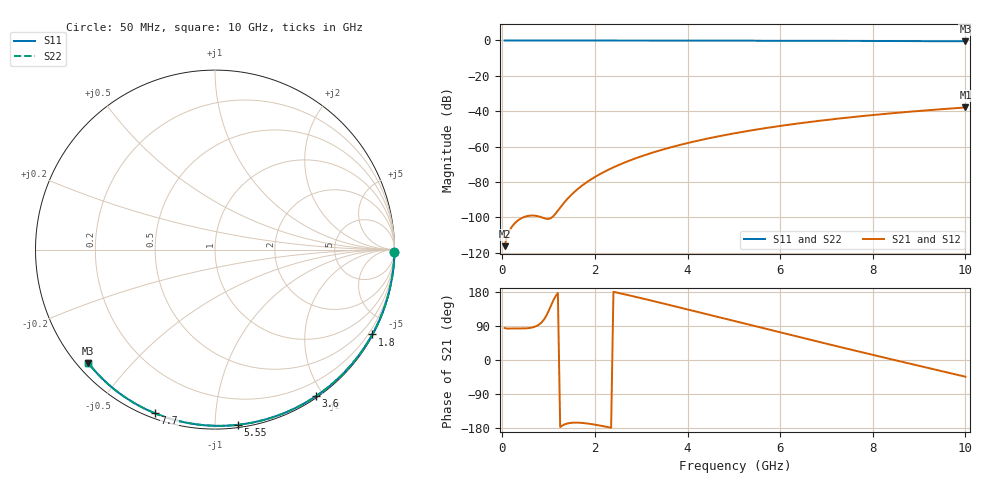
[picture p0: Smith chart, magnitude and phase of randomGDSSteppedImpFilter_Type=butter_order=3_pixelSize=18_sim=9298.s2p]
! freq	dB(S11)	phase(S11)	dB(S12)	phase(S12)
!  dB(S21)	phase(S21)	dB(S22)	phase(S22)
!S-par simulation data
#  GHz  S  DB  R 50
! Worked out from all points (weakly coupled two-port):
!   200 points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, 50 MHz to 10 GHz, reference 50 ohm
!   highest |S21| = -37.87 dB at 10 GHz (marker M1); lowest = -116.3 dB at 50 MHz (marker M2)
!   lowest |S11| = -0.5 dB at 10 GHz (marker M3), VSWR 37.08, Z = 1.55 - j19.1 ohm
!   |S11| at or under -10 dB: nowhere
!   |S22| runs from -0.5 to 0.0 dB; largest |S21 - S12| = 0
!   S11 on the Smith chart (normalised r, x): 50 MHz: open; 1.8 GHz: 0.03, -3.96; 3.6 GHz: 0.02, -1.91; 5.55 GHz: 0.02, -1.14; 7.7 GHz: 0.02, -0.70; 10 GHz: 0.03, -0.38
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0.05  -0.00 -0.8  -116.27 84.4  -116.27 84.4  -0.00 -0.8
0.45  -0.01 -7.2  -100.02 83.2  -100.02 83.2  -0.01 -7.2
0.9  -0.02 -14.3  -100.45 106.8  -100.45 106.8  -0.02 -14.3
1.75  -0.04 -27.6  -81.49 -166.4  -81.49 -166.4  -0.04 -27.6
1.8  -0.04 -28.3  -80.55 -167.0  -80.55 -167.0  -0.04 -28.3
1.85  -0.04 -29.1  -79.65 -167.8  -79.65 -167.8  -0.04 -29.1
2.05  -0.04 -32.2  -76.40 -171.6  -76.40 -171.6  -0.04 -32.2
2.25  -0.05 -35.2  -73.59 -176.3  -73.59 -176.3  -0.05 -35.2
2.55  -0.05 -39.8  -69.97 175.9  -69.97 175.9  -0.05 -39.8
2.95  -0.06 -45.8  -65.94 164.6  -65.94 164.6  -0.06 -45.8
3.4  -0.07 -52.4  -62.16 151.4  -62.16 151.4  -0.07 -52.4
3.6  -0.07 -55.4  -60.67 145.4  -60.67 145.4  -0.07 -55.3
3.9  -0.08 -59.7  -58.63 136.4  -58.63 136.4  -0.08 -59.7
4.3  -0.09 -65.4  -56.19 124.3  -56.19 124.3  -0.09 -65.4
5.05  -0.12 -75.8  -52.30 101.5  -52.30 101.5  -0.12 -75.8
5.55  -0.14 -82.6  -50.09 86.4  -50.09 86.4  -0.14 -82.6
6.1  -0.16 -89.9  -47.94 69.8  -47.94 69.8  -0.16 -89.9
6.7  -0.19 -97.6  -45.88 51.9  -45.88 51.9  -0.19 -97.6
7.7  -0.25 -110.2  -42.94 22.3  -42.94 22.3  -0.25 -110.2
8.35  -0.30 -118.2  -41.30 3.4  -41.30 3.4  -0.30 -118.2
9.2  -0.38 -128.5  -39.42 -21.2  -39.42 -21.2  -0.38 -128.5
10  -0.47 -138.2  -37.87 -44.1  -37.87 -44.1  -0.47 -138.2
